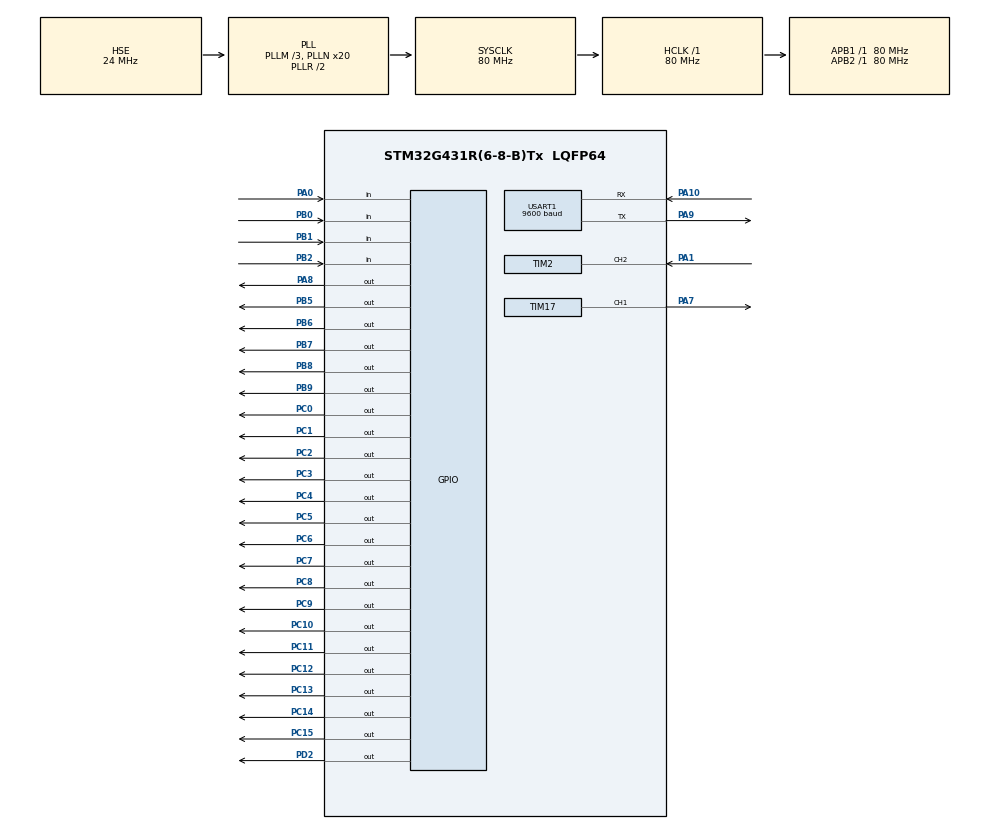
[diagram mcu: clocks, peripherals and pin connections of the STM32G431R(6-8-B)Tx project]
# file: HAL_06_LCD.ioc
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Mcu.Family=STM32G4
Mcu.Name=STM32G431R(6-8-B)Tx
Mcu.Package=LQFP64
NVIC.PriorityGroup=NVIC_PRIORITYGROUP_4
NVIC.TIM1_UP_TIM16_IRQn=true\:0\:0\:false\:false\:true\:true\:true\:true
NVIC.TIM2_IRQn=true\:0\:0\:false\:false\:true\:true\:true\:true
NVIC.USART1_IRQn=true\:0\:0\:false\:false\:true\:true\:true\:true
PA0.Signal=GPIO_Input
PA1.Signal=S_TIM2_CH2
PA10.Mode=Asynchronous
PA10.Signal=USART1_RX
PA13.Mode=Serial_Wire
PA13.Signal=SYS_JTMS-SWDIO
PA14.Mode=Serial_Wire
PA14.Signal=SYS_JTCK-SWCLK
PA7.Signal=S_TIM17_CH1
PA8.Signal=GPIO_Output
PA9.Mode=Asynchronous
PA9.Signal=USART1_TX
PB0.Signal=GPIO_Input
PB1.Signal=GPIO_Input
PB2.Signal=GPIO_Input
PB5.Signal=GPIO_Output
PB6.Signal=GPIO_Output
PB7.Signal=GPIO_Output
PB8-BOOT0.Signal=GPIO_Output
PB9.Signal=GPIO_Output
PC0.Signal=GPIO_Output
PC1.Signal=GPIO_Output
PC10.Signal=GPIO_Output
PC11.Signal=GPIO_Output
PC12.Signal=GPIO_Output
PC13.Signal=GPIO_Output
PC14-OSC32_IN.Signal=GPIO_Output
PC15-OSC32_OUT.Signal=GPIO_Output
PC2.Signal=GPIO_Output
PC3.Signal=GPIO_Output
PC4.Signal=GPIO_Output
PC5.Signal=GPIO_Output
PC6.Signal=GPIO_Output
PC7.Signal=GPIO_Output
PC8.Signal=GPIO_Output
PC9.Signal=GPIO_Output
PD2.Signal=GPIO_Output
PF0-OSC_IN.Mode=HSE-External-Oscillator
PF0-OSC_IN.Signal=RCC_OSC_IN
PF1-OSC_OUT.Mode=HSE-External-Oscillator
PF1-OSC_OUT.Signal=RCC_OSC_OUT
ProjectManager.HeapSize=0x200
ProjectManager.StackSize=0x400
ProjectManager.TargetToolchain=MDK-ARM V5.27
RCC.ADC12Freq_Value=80000000
RCC.AHBFreq_Value=80000000
RCC.APB1Freq_Value=80000000
RCC.APB1TimFreq_Value=80000000
RCC.APB2Freq_Value=80000000
RCC.APB2TimFreq_Value=80000000
RCC.CortexFreq_Value=80000000
RCC.EXTERNAL_CLOCK_VALUE=12288000
RCC.HCLKFreq_Value=80000000
RCC.HSE_VALUE=24000000
RCC.HSI48_VALUE=48000000
RCC.HSI_VALUE=16000000
RCC.LSE_VALUE=32768
RCC.PLLM=RCC_PLLM_DIV3
RCC.PLLN=20
RCC.PLLSourceVirtual=RCC_PLLSOURCE_HSE
RCC.SYSCLKFreq_VALUE=80000000
RCC.SYSCLKSource=RCC_SYSCLKSOURCE_PLLCLK
RCC.USBFreq_Value=80000000
RCC.VCOOutputFreq_Value=160000000
SH.S_TIM17_CH1.0=TIM17_CH1,PWM Generation1 CH1
SH.S_TIM2_CH2.0=TIM2_CH2,Input_Capture2_from_TI2
TIM16.PeriodNoDither=5000-1
TIM16.Prescaler=800-1
TIM17.Channel=TIM_CHANNEL_1
TIM17.PeriodNoDither=100-1
TIM17.Prescaler=400-1
TIM17.PulseNoDither_1=20
TIM2.Channel-Input_Capture2_from_TI2=TIM_CHANNEL_2
TIM2.Prescaler=800-1
USART1.BaudRate=9600
USART1.VirtualMode-Asynchronous=VM_ASYNC
VP_SYS_VS_DBSignals.Mode=DisableDeadBatterySignals
VP_TIM16_VS_ClockSourceINT.Mode=Enable_Timer
VP_TIM17_VS_ClockSourceINT.Mode=Enable_Timer
board=custom

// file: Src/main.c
/* USER CODE BEGIN Header */
/**
  ******************************************************************************
  * @file           : main.c
  * @brief          : Main program body
  ******************************************************************************
  * @attention
  *
  * Copyright (c) 2024 STMicroelectronics.
  * All rights reserved.
  *
  * This software is licensed under terms that can be found in the LICENSE file
  * in the root directory of this software component.
  * If no LICENSE file comes with this software, it is provided AS-IS.
  *
  ******************************************************************************
  */
/* USER CODE END Header */
#include "main.h"
#include "tim.h"
#include "usart.h"
#include "gpio.h"

/* USER CODE BEGIN Includes */

#include "lcd/lcd.h"
#include  "key/key.h"
#include "stdio.h"
#include "time/time.h"
#include "menu/menu.h"
#include "led/led.h"
/* USER CODE END Includes */

void SystemClock_Config(void);

/* USER CODE BEGIN 0 */
extern uint8_t uart_temp;
/* USER CODE END 0 */

int main(void)
{

  /* MCU Configuration--------------------------------------------------------*/

  /* Reset of all peripherals, Initializes the Flash interface and the Systick. */
  HAL_Init();

  /* Configure the system clock */
  SystemClock_Config();

  /* Initialize all configured peripherals */
  MX_GPIO_Init();
  MX_TIM16_Init();
  MX_USART1_UART_Init();
  MX_TIM17_Init();
  MX_TIM2_Init();
  led_write(1<<0);
  /* USER CODE BEGIN 2 */
  key_init();
  car_init();
  HAL_TIM_Base_Start_IT(&htim16);
  HAL_TIM_IC_Start_IT(&htim2, TIM_CHANNEL_2);
  LCD_Init();
  menu_init();
  /* USER CODE END 2 */

  /* Infinite loop */
  /* USER CODE BEGIN WHILE */
  HAL_UART_Transmit(&huart1, (uint8_t *)"hello world\n", 12, 0xffff);
  HAL_UART_Receive_IT(&huart1, &uart_temp, 1);
  while (1)
  {
    menu_main();
    /* USER CODE END WHILE */

  }
}

void SystemClock_Config(void)
{
  RCC_OscInitTypeDef RCC_OscInitStruct = {0};
  RCC_ClkInitTypeDef RCC_ClkInitStruct = {0};

  /** Configure the main internal regulator output voltage
  */
  HAL_PWREx_ControlVoltageScaling(PWR_REGULATOR_VOLTAGE_SCALE1);

  /** Initializes the RCC Oscillators according to the specified parameters
  * in the RCC_OscInitTypeDef structure.
  */
  RCC_OscInitStruct.OscillatorType = RCC_OSCILLATORTYPE_HSE;
  RCC_OscInitStruct.HSEState = RCC_HSE_ON;
  RCC_OscInitStruct.PLL.PLLState = RCC_PLL_ON;
  RCC_OscInitStruct.PLL.PLLSource = RCC_PLLSOURCE_HSE;
  RCC_OscInitStruct.PLL.PLLM = RCC_PLLM_DIV3;
  RCC_OscInitStruct.PLL.PLLN = 20;
  RCC_OscInitStruct.PLL.PLLP = RCC_PLLP_DIV2;
  RCC_OscInitStruct.PLL.PLLQ = RCC_PLLQ_DIV2;
  RCC_OscInitStruct.PLL.PLLR = RCC_PLLR_DIV2;
  if (HAL_RCC_OscConfig(&RCC_OscInitStruct) != HAL_OK)
  {
    Error_Handler();
  }

  /** Initializes the CPU, AHB and APB buses clocks
  */
  RCC_ClkInitStruct.ClockType = RCC_CLOCKTYPE_HCLK|RCC_CLOCKTYPE_SYSCLK
                              |RCC_CLOCKTYPE_PCLK1|RCC_CLOCKTYPE_PCLK2;
  RCC_ClkInitStruct.SYSCLKSource = RCC_SYSCLKSOURCE_PLLCLK;
  RCC_ClkInitStruct.AHBCLKDivider = RCC_SYSCLK_DIV1;
  RCC_ClkInitStruct.APB1CLKDivider = RCC_HCLK_DIV1;
  RCC_ClkInitStruct.APB2CLKDivider = RCC_HCLK_DIV1;

  if (HAL_RCC_ClockConfig(&RCC_ClkInitStruct, FLASH_LATENCY_2) != HAL_OK)
  {
    Error_Handler();
  }
}

void Error_Handler(void)
{
  __disable_irq();
  while (1)
  {
  }
}
